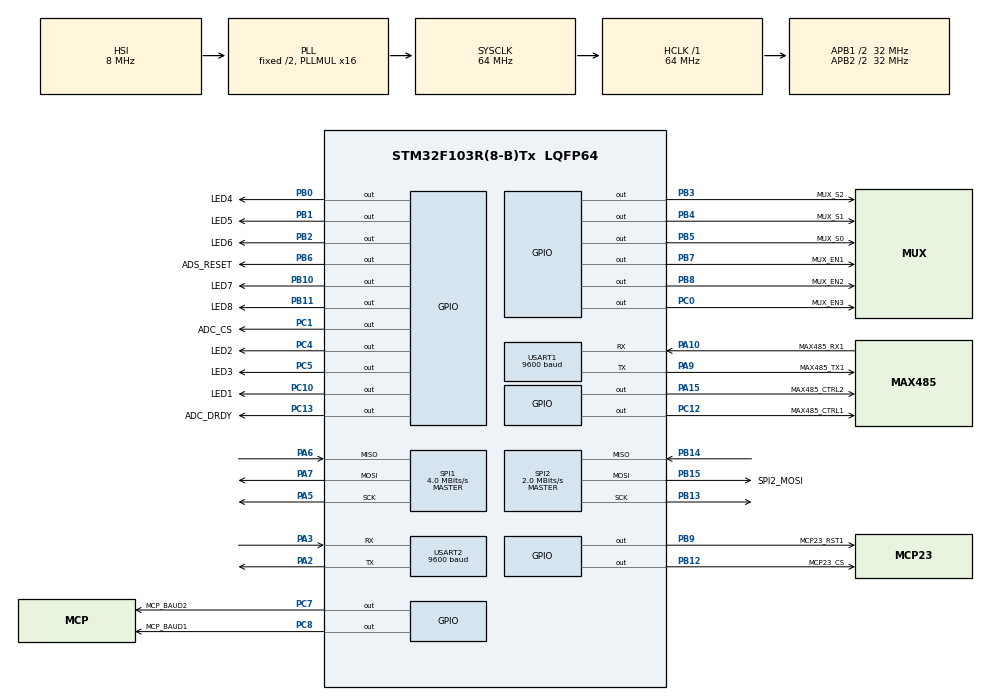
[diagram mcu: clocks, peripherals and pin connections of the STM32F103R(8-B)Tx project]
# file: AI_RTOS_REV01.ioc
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Dma.Request0=USART1_RX
Dma.Request1=USART1_TX
Dma.Request2=USART2_TX
Dma.Request3=USART2_RX
Dma.USART1_RX.0.Direction=DMA_PERIPH_TO_MEMORY
Dma.USART1_RX.0.Instance=DMA1_Channel5
Dma.USART1_RX.0.MemDataAlignment=DMA_MDATAALIGN_BYTE
Dma.USART1_RX.0.MemInc=DMA_MINC_ENABLE
Dma.USART1_RX.0.Mode=DMA_NORMAL
Dma.USART1_RX.0.PeriphDataAlignment=DMA_PDATAALIGN_BYTE
Dma.USART1_RX.0.PeriphInc=DMA_PINC_DISABLE
Dma.USART1_RX.0.Priority=DMA_PRIORITY_LOW
Dma.USART1_TX.1.Direction=DMA_MEMORY_TO_PERIPH
Dma.USART1_TX.1.Instance=DMA1_Channel4
Dma.USART1_TX.1.MemDataAlignment=DMA_MDATAALIGN_BYTE
Dma.USART1_TX.1.MemInc=DMA_MINC_ENABLE
Dma.USART1_TX.1.Mode=DMA_NORMAL
Dma.USART1_TX.1.PeriphDataAlignment=DMA_PDATAALIGN_BYTE
Dma.USART1_TX.1.PeriphInc=DMA_PINC_DISABLE
Dma.USART1_TX.1.Priority=DMA_PRIORITY_LOW
Dma.USART2_RX.3.Direction=DMA_PERIPH_TO_MEMORY
Dma.USART2_RX.3.Instance=DMA1_Channel6
Dma.USART2_RX.3.MemDataAlignment=DMA_MDATAALIGN_BYTE
Dma.USART2_RX.3.MemInc=DMA_MINC_ENABLE
Dma.USART2_RX.3.Mode=DMA_NORMAL
Dma.USART2_RX.3.PeriphDataAlignment=DMA_PDATAALIGN_BYTE
Dma.USART2_RX.3.PeriphInc=DMA_PINC_DISABLE
Dma.USART2_RX.3.Priority=DMA_PRIORITY_LOW
Dma.USART2_TX.2.Direction=DMA_MEMORY_TO_PERIPH
Dma.USART2_TX.2.Instance=DMA1_Channel7
Dma.USART2_TX.2.MemDataAlignment=DMA_MDATAALIGN_BYTE
Dma.USART2_TX.2.MemInc=DMA_MINC_ENABLE
Dma.USART2_TX.2.Mode=DMA_NORMAL
Dma.USART2_TX.2.PeriphDataAlignment=DMA_PDATAALIGN_BYTE
Dma.USART2_TX.2.PeriphInc=DMA_PINC_DISABLE
Dma.USART2_TX.2.Priority=DMA_PRIORITY_LOW
FREERTOS.Tasks01=defaultTask,0,128,StartDefaultTask,Default,NULL,Dynamic,NULL,NULL;MODBUS_TASK,-3,128,MODBUS_HANDLER,Default,NULL,Dynamic,NULL,NULL
Mcu.Family=STM32F1
Mcu.Name=STM32F103R(8-B)Tx
Mcu.Package=LQFP64
NVIC.DMA1_Channel4_IRQn=true\:5\:0\:false\:false\:true\:true\:false\:true\:true
NVIC.DMA1_Channel5_IRQn=true\:5\:0\:false\:false\:true\:true\:false\:true\:true
NVIC.DMA1_Channel6_IRQn=true\:5\:0\:false\:false\:true\:true\:false\:true\:true
NVIC.DMA1_Channel7_IRQn=true\:5\:0\:false\:false\:true\:true\:false\:true\:true
NVIC.PriorityGroup=NVIC_PRIORITYGROUP_4
NVIC.TIM1_UP_IRQn=true\:15\:0\:false\:false\:true\:false\:false\:true\:true
NVIC.TimeBase=TIM1_UP_IRQn
NVIC.TimeBaseIP=TIM1
NVIC.USART1_IRQn=true\:5\:0\:false\:false\:true\:true\:true\:true\:true
NVIC.USART2_IRQn=true\:5\:0\:false\:false\:true\:true\:true\:true\:true
PA10.GPIO_Label=MAX485_RX1
PA10.Mode=Asynchronous
PA10.Signal=USART1_RX
PA13.Mode=Serial_Wire
PA13.Signal=SYS_JTMS-SWDIO
PA14.Mode=Serial_Wire
PA14.Signal=SYS_JTCK-SWCLK
PA15.GPIO_Label=MAX485_CTRL2
PA15.Signal=GPIO_Output
PA2.Mode=Asynchronous
PA2.Signal=USART2_TX
PA3.Mode=Asynchronous
PA3.Signal=USART2_RX
PA5.Mode=Full_Duplex_Master
PA5.Signal=SPI1_SCK
PA6.Mode=Full_Duplex_Master
PA6.Signal=SPI1_MISO
PA7.Mode=Full_Duplex_Master
PA7.Signal=SPI1_MOSI
PA9.GPIO_Label=MAX485_TX1
PA9.Mode=Asynchronous
PA9.Signal=USART1_TX
PB0.GPIO_Label=LED4
PB0.Signal=GPIO_Output
PB1.GPIO_Label=LED5
PB1.Signal=GPIO_Output
PB10.GPIO_Label=LED7
PB10.Signal=GPIO_Output
PB11.GPIO_Label=LED8
PB11.Signal=GPIO_Output
PB12.GPIO_Label=MCP23_CS
PB12.Signal=GPIO_Output
PB13.Mode=Full_Duplex_Master
PB13.Signal=SPI2_SCK
PB14.Mode=Full_Duplex_Master
PB14.Signal=SPI2_MISO
PB15.GPIO_Label=SPI2_MOSI
PB15.Mode=Full_Duplex_Master
PB15.Signal=SPI2_MOSI
PB2.GPIO_Label=LED6
PB2.Signal=GPIO_Output
PB3.GPIO_Label=MUX_S2
PB3.Signal=GPIO_Output
PB4.GPIO_Label=MUX_S1
PB4.Signal=GPIO_Output
PB5.GPIO_Label=MUX_S0
PB5.Signal=GPIO_Output
PB6.GPIO_Label=ADS_RESET
PB6.Signal=GPIO_Output
PB7.GPIO_Label=MUX_EN1
PB7.Signal=GPIO_Output
PB8.GPIO_Label=MUX_EN2
PB8.Signal=GPIO_Output
PB9.GPIO_Label=MCP23_RST1
PB9.Signal=GPIO_Output
PC0.GPIO_Label=MUX_EN3
PC0.Signal=GPIO_Output
PC1.GPIO_Label=ADC_CS
PC1.Signal=GPIO_Output
PC10.GPIO_Label=LED1
PC10.Signal=GPIO_Output
PC12.GPIO_Label=MAX485_CTRL1
PC12.Signal=GPIO_Output
PC13-TAMPER-RTC.GPIO_Label=ADC_DRDY
PC13-TAMPER-RTC.Signal=GPIO_Output
PC4.GPIO_Label=LED2
PC4.Signal=GPIO_Output
PC5.GPIO_Label=LED3
PC5.Signal=GPIO_Output
PC7.GPIO_Label=MCP_BAUD2
PC7.Signal=GPIO_Output
PC8.GPIO_Label=MCP_BAUD1
PC8.Signal=GPIO_Output
PD0-OSC_IN.Mode=HSE-External-Oscillator
PD0-OSC_IN.Signal=RCC_OSC_IN
PD1-OSC_OUT.Mode=HSE-External-Oscillator
PD1-OSC_OUT.Signal=RCC_OSC_OUT
ProjectManager.HeapSize=0x200
ProjectManager.StackSize=0x400
ProjectManager.TargetToolchain=STM32CubeIDE
RCC.AHBFreq_Value=64000000
RCC.APB1CLKDivider=RCC_HCLK_DIV2
RCC.APB1Freq_Value=32000000
RCC.APB1TimFreq_Value=64000000
RCC.APB2CLKDivider=RCC_HCLK_DIV2
RCC.APB2Freq_Value=32000000
RCC.APB2TimFreq_Value=64000000
RCC.DATA_CACHE_ENABLE=0
RCC.HCLKFreq_Value=64000000
RCC.INSTRUCTION_CACHE_ENABLE=0
RCC.PLLMUL=RCC_PLL_MUL16
RCC.SYSCLKFreq_VALUE=64000000
RCC.SYSCLKSource=RCC_SYSCLKSOURCE_PLLCLK
RCC.USBFreq_Value=64000000
SPI1.BaudRatePrescaler=SPI_BAUDRATEPRESCALER_8
SPI1.CLKPhase=SPI_PHASE_2EDGE
SPI1.CalculateBaudRate=4.0 MBits/s
SPI1.Direction=SPI_DIRECTION_2LINES
SPI1.Mode=SPI_MODE_MASTER
SPI1.VirtualType=VM_MASTER
SPI2.BaudRatePrescaler=SPI_BAUDRATEPRESCALER_16
SPI2.CalculateBaudRate=2.0 MBits/s
SPI2.Direction=SPI_DIRECTION_2LINES
SPI2.Mode=SPI_MODE_MASTER
SPI2.VirtualType=VM_MASTER
USART1.BaudRate=9600
USART1.VirtualMode=VM_ASYNC
USART2.BaudRate=9600
USART2.VirtualMode=VM_ASYNC
VP_FREERTOS_VS_CMSIS_V1.Mode=CMSIS_V1
VP_SYS_VS_tim1.Mode=TIM1
board=custom

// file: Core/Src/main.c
/* USER CODE BEGIN Header */
/**
  ******************************************************************************
  * @file           : main.c
  * @brief          : Main program body
  ******************************************************************************
  * @attention
  *
  * Copyright (c) 2026 STMicroelectronics.
  * All rights reserved.
  *
  * This software is licensed under terms that can be found in the LICENSE file
  * in the root directory of this software component.
  * If no LICENSE file comes with this software, it is provided AS-IS.
  *
  ******************************************************************************
  */
/* USER CODE END Header */
#include "main.h"
#include "cmsis_os.h"

/* USER CODE BEGIN Includes */
#include"string.h"
#include <stdbool.h>
#include<HC595.h>
#include<storage.h>
#include<modbus485.h>
#include"ADS1247.h"
#include"dipswitch.h"
#include<math.h>

/* USER CODE END Includes */

/* USER CODE BEGIN PTD */

//int cnt=0;
uint8_t slave_id=0x01;
int cnt=0;
int16_t adc_conversion_mode[8]={0x0004,0x0004,0x0004,0x0004,0x0004,0x0004,0x0004,0x0004};//V0_10
uint8_t tempuart1[64];
uint8_t tempuart2[64];
int32_t raw1,raw2,raw3;
uint8_t status;
float voltageReading0,voltageReading2,result_temp=0.0;
uint8_t data[UART_RX_BUF_SIZE];
uint32_t indx=0;
uint16_t uart1crc;
uint16_t uart2crc;
uint8_t uart1_frame_ready=0;
uint8_t uart3_frame_ready=0;
uint8_t is_tx_cmpleate=0;
eMode_t conversion_mode,conversion_mode1=0;
int channal=0x00;
float supply[8];
int16_t modebus_regs_range[10]={0};
uint8_t RxData1[64];
uint8_t RxData[64];
volatile uint16_t uart1_rx_size = 0;
volatile uint16_t uart3_rx_size = 0;
volatile uint16_t uart1len =0;
volatile uint16_t uart2len =0;
const MapEntry configMap[] = {
	{0,MV0_50},
    {1, MV0_100},
	{2, MV0_250},
    {3, V0_5},
    {4, V0_10},
    {5,MA4_20},
	{6,MA0_20},
	{7,VN10_10},
	{8,VN5_5},
};
//Reg=((v/100)*22000)-2000
float voltage_x[50];

#define ICNT 1

flash_t W_flash={.channalmode={4,4,4,4,4,4,4,4},
		.MB_Zero_offset={-2000,-2000,-2000,-2000,-2000,-2000,-2000,-2000},
		.MB_Span_offset={20000,20000,20000,20000,20000,20000,20000,20000},
		.BaudRate=9600,
		.SlaveID=0x01,
};

flash_t R_flash={.channalmode={4,4,4,4,4,4,4,4},
		.MB_Zero_offset={-2000,-2000,-2000,-2000,-2000,-2000,-2000,-2000},
		.MB_Span_offset={20000,20000,20000,20000,20000,20000,20000,20000},
		.BaudRate=9600,
		.SlaveID=0x01,
};

int32_t Input_Registers_Database[50]={0};
int16_t Holding_Registers_Database[50]={0};
RingBuffer_t uart2_rx_rb = { .head = 0, .tail = 0 };
RingBuffer_t uart1_rx_rb = { .head = 0, .tail = 0 };

uint32_t selectedBaudRate;

osSemaphoreId txCompleteSem;
volatile uint32_t last_rx_time = 0;

uint8_t uart1_buf[64];
uint8_t uart3_buf[64];
/* USER CODE END PTD */

SPI_HandleTypeDef hspi1;
SPI_HandleTypeDef hspi2;

UART_HandleTypeDef huart1;
UART_HandleTypeDef huart2;
DMA_HandleTypeDef hdma_usart1_rx;
DMA_HandleTypeDef hdma_usart1_tx;
DMA_HandleTypeDef hdma_usart2_tx;
DMA_HandleTypeDef hdma_usart2_rx;

osThreadId defaultTaskHandle;
osThreadId MODBUS_TASKHandle;

void SystemClock_Config(void);
static void MX_GPIO_Init(void);
static void MX_DMA_Init(void);
static void MX_USART1_UART_Init(void);
static void MX_USART2_UART_Init(void);
static void MX_SPI1_Init(void);
static void MX_SPI2_Init(void);
void StartDefaultTask(void const * argument);
void MODBUS_HANDLER(void const * argument);

/* USER CODE BEGIN 0 */
void UART_DMA_Init(void)
{
	HAL_UART_DMAStop(&huart1);
    HAL_UARTEx_ReceiveToIdle_DMA(&huart1, RxData1, sizeof(RxData1));
    __HAL_DMA_DISABLE_IT(&hdma_usart1_rx, DMA_IT_HT);

    HAL_UART_DMAStop(&huart2);
    HAL_UARTEx_ReceiveToIdle_DMA(&huart2, RxData, sizeof(RxData));
    __HAL_DMA_DISABLE_IT(&hdma_usart2_rx, DMA_IT_HT);
}

void UART_SetBaudRate(UART_HandleTypeDef *huart, uint32_t baudRate)
{
	HAL_UART_DeInit(huart);
	huart->Init.BaudRate = baudRate;
	if (HAL_UART_Init(huart) != HAL_OK)
	{
		Error_Handler();
	}
}

void UpdateUartBaudRate(void)
{
	static uint32_t previousBaud = 0;

	uint8_t gpioVal = (HAL_GPIO_ReadPin(GPIOC, GPIO_PIN_8) << 1) |
							HAL_GPIO_ReadPin(GPIOC, GPIO_PIN_7);

	switch (gpioVal)
	{
		case 0x00: selectedBaudRate = 9600; break;
		case 0x01: selectedBaudRate = 19200; break;
		case 0x02: selectedBaudRate = 38400; break;
		default: selectedBaudRate = 115200; break;
	}

	// 🔥 Only change if baud is different
	if (selectedBaudRate != previousBaud)
	{
		previousBaud = selectedBaudRate;

		// Stop UART first
		HAL_UART_DMAStop(&huart2);
		HAL_UART_DMAStop(&huart1);

		UART_SetBaudRate(&huart2, selectedBaudRate);
		UART_SetBaudRate(&huart1, selectedBaudRate);

		HAL_UARTEx_ReceiveToIdle_DMA(&huart2, RxData, sizeof(RxData));
		__HAL_DMA_DISABLE_IT(&hdma_usart2_rx, DMA_IT_HT);

		HAL_UARTEx_ReceiveToIdle_DMA(&huart1, RxData1, sizeof(RxData1));
		__HAL_DMA_DISABLE_IT(&hdma_usart1_rx, DMA_IT_HT);
	}
}
void HAL_UARTEx_RxEventCallback(UART_HandleTypeDef *huart, uint16_t Size)
{
    if (huart->Instance == USART1)
    {
        if (Size >= 6 && Size <= sizeof(RxData1))
        {
            if (RxData1[0] == slave_id && !uart1_frame_ready)
            {
                memcpy(uart1_buf, RxData1, Size);

                uart1_rx_size = Size;

                uart1_frame_ready = 1;

//                uart1_recovering = 0;
            }
        }
       // memset(RxData1,0,sizeof(RxData1));
        HAL_UARTEx_ReceiveToIdle_DMA(&huart1, RxData1, sizeof(RxData1));
        __HAL_DMA_DISABLE_IT(&hdma_usart1_rx, DMA_IT_HT);
    }

    else if (huart->Instance == USART2)
    {
        if (Size >= 6 && Size <= sizeof(RxData))
        {
            if (RxData[0] == slave_id && !uart3_frame_ready)
            {
                memcpy(uart3_buf, RxData, Size);

                uart3_rx_size = Size;
//                uart3_last_rx_time = HAL_GetTick();
//                uart3_process_start = uart3_last_rx_time;

                uart3_frame_ready = 1;

//                uart3_recovering = 0;
            }
        }
        memset(RxData,0,sizeof(RxData));
        HAL_UARTEx_ReceiveToIdle_DMA(&huart2, RxData, sizeof(RxData));
        __HAL_DMA_DISABLE_IT(&hdma_usart2_rx, DMA_IT_HT);
    }
}
void UART1_Recover(void)
{

	uint8_t error = 0;
    // Check all errors first
    if (__HAL_UART_GET_FLAG(&huart1, UART_FLAG_ORE)) error = 1;
    if (__HAL_UART_GET_FLAG(&huart1, UART_FLAG_FE))  error = 1;
    if (__HAL_UART_GET_FLAG(&huart1, UART_FLAG_NE))  error = 1;
    if (__HAL_UART_GET_FLAG(&huart1, UART_FLAG_PE))  error = 1;

    if (error)
    {
    	//cnt2++;
        // 1. Stop DMA
        HAL_UART_DMAStop(&huart1);

        // 2. Clear all error flags
        __HAL_UART_CLEAR_OREFLAG(&huart1);
        __HAL_UART_CLEAR_FEFLAG(&huart1);
        __HAL_UART_CLEAR_NEFLAG(&huart1);
        __HAL_UART_CLEAR_PEFLAG(&huart1);

        // 3. Flush DR (VERY IMPORTANT)
        volatile uint32_t temp;
        temp = huart1.Instance->SR;
        temp = huart1.Instance->DR;
        (void)temp;

        // 4. Restart DMA reception
        HAL_UARTEx_ReceiveToIdle_DMA(&huart1, RxData1, sizeof(RxData1));

//         5. Disable Half Transfer interrupt (good for Modbus)
        __HAL_DMA_DISABLE_IT(&hdma_usart1_rx, DMA_IT_HT);
    }
}
void UART3_Recover(void)
{
    uint8_t error = 0;

    // Check all errors first
    if (__HAL_UART_GET_FLAG(&huart2, UART_FLAG_ORE)) error = 1;
    if (__HAL_UART_GET_FLAG(&huart2, UART_FLAG_FE))  error = 1;
    if (__HAL_UART_GET_FLAG(&huart2, UART_FLAG_NE))  error = 1;
    if (__HAL_UART_GET_FLAG(&huart2, UART_FLAG_PE))  error = 1;

    if (error)
    {
        // 1. Stop DMA
        HAL_UART_DMAStop(&huart2);

        // 2. Clear all error flags
        __HAL_UART_CLEAR_OREFLAG(&huart2);
        __HAL_UART_CLEAR_FEFLAG(&huart2);
        __HAL_UART_CLEAR_NEFLAG(&huart2);
        __HAL_UART_CLEAR_PEFLAG(&huart2);

        // 3. Flush DR (VERY IMPORTANT)
        volatile uint32_t temp;
        temp = huart2.Instance->SR;
        temp = huart2.Instance->DR;
        (void)temp;

        // 4. Restart DMA reception
        HAL_UARTEx_ReceiveToIdle_DMA(&huart2, RxData, sizeof(RxData));

        // 5. Disable Half Transfer interrupt (good for Modbus)
        __HAL_DMA_DISABLE_IT(&hdma_usart2_rx, DMA_IT_HT);
    }
}

eMode_t check_and_get_adc_conversion_mode(uint16_t *conversion_mode,channal_t channal){

	for(int i=0;i<sizeof(configMap)/sizeof(MapEntry);i++){
				if(configMap[i].regValue==conversion_mode[channal])
					return configMap[i].config;// set channal on the basis of conversion_mode value

		}
		return configMap[channal].config;//default setting if conversion_mode is mismatch with regValue
}

uint8_t GAIN=1;
uint8_t set_adc_conversion_mode(uint16_t conversion_mode,uint8_t channel){
	static uint16_t enbit=0;
//	channel=channel+1;
		for(int i=0;i<sizeof(configMap)/sizeof(MapEntry);i++){
					if(configMap[i].regValue==conversion_mode){
						switch(configMap[i].config){
							case V0_5:
								 //enable mux1

								if(!(enbit&0x01)){
									HAL_GPIO_WritePin(MUX_EN2_GPIO_Port, MUX_EN2_Pin, RESET);
									HAL_GPIO_WritePin(MUX_EN1_GPIO_Port, MUX_EN1_Pin, SET);
									enbit |=1<<0;//enable divider mux
									enbit &=~(1<<1);//disable other mux
									GAIN=1;
									ADS1247_write_register(REG_SYS0,1,PGA2_0 | DOR3_20);
									ADS1247_write_register(REG_MUX0,1,((P_AIN1>>1)|N_AIN3));//enable AI1

								}
								ENABLE_CHANNEL(channel);

								//enable specific channel

								break;
							case V0_10 :
								 //enable mux1

								if(!(enbit&0x01)){
									HAL_GPIO_WritePin(MUX_EN2_GPIO_Port, MUX_EN2_Pin, RESET);
									HAL_GPIO_WritePin(MUX_EN1_GPIO_Port, MUX_EN1_Pin, SET);
									enbit |=1<<0;//enable divider mux
									enbit &=~(1<<1);//disable other mux
									GAIN=1;
									ADS1247_write_register(REG_SYS0,1,PGA2_0 | DOR3_20);
									ADS1247_write_register(REG_MUX0,1,((P_AIN1>>1)|N_AIN3));//enable AI1

								}
								ENABLE_CHANNEL(channel);

								//enable specific channel
								break;

							case MV0_50:
								 //enable mux2

								if(!(enbit&0x02)){
									HAL_GPIO_WritePin(MUX_EN2_GPIO_Port, MUX_EN2_Pin, SET);
									HAL_GPIO_WritePin(MUX_EN1_GPIO_Port, MUX_EN1_Pin, RESET);
									enbit |=1<<1;//enable other mux
									enbit &=~(1<<0);//disable divider  mux
									GAIN=8;
									ADS1247_write_register(REG_SYS0,1,PGA2_8 | DOR3_20);
									ADS1247_write_register(REG_MUX0,1,((P_AIN0>>1)|N_AIN3));//enable AI1

								}
								ENABLE_CHANNEL(channel);
								//enable specific channal
								break;
							case MV0_100:
								 //enable mux2

								if(!(enbit&0x02)){
									HAL_GPIO_WritePin(MUX_EN2_GPIO_Port, MUX_EN2_Pin, SET);
									HAL_GPIO_WritePin(MUX_EN1_GPIO_Port, MUX_EN1_Pin, RESET);
									enbit &=~(1<<0);//disable divider  mux
									enbit |=1<<1;//enable other mux
									GAIN=8;
									ADS1247_write_register(REG_SYS0,1,PGA2_8 | DOR3_20);
									ADS1247_write_register(REG_MUX0,1,((P_AIN0>>1)|N_AIN3));//enable AI1

								}
								ENABLE_CHANNEL(channel);
								//enable specific channal
								break;
							case MV0_250 :
								 //enable mux2

								if(!(enbit&0x02)){
									HAL_GPIO_WritePin(MUX_EN2_GPIO_Port, MUX_EN2_Pin, SET);
									HAL_GPIO_WritePin(MUX_EN1_GPIO_Port, MUX_EN1_Pin, RESET);
									enbit |=1<<1;//enable other mux
									enbit &=~(1<<0);//disable divider  mux
									GAIN=8;
									ADS1247_write_register(REG_SYS0,1,PGA2_8 | DOR3_20);
									ADS1247_write_register(REG_MUX0,1,((P_AIN0>>1)|N_AIN3));//enable AI1

								}
								ENABLE_CHANNEL(channel);
								//enable specific channal
								break;
							case MA0_20:
								 //enable mux1

								if(!(enbit&0x02)){
									HAL_GPIO_WritePin(MUX_EN2_GPIO_Port, MUX_EN2_Pin, SET);
									HAL_GPIO_WritePin(MUX_EN1_GPIO_Port, MUX_EN1_Pin, RESET);
									enbit |=1<<1;//enable other mux
									enbit &=~(1<<0);//disable divider  mux
									GAIN=1;
									ADS1247_write_register(REG_SYS0,1,PGA2_0 | DOR3_20);
									ADS1247_write_register(REG_MUX0,1,((P_AIN0>>1)|N_AIN3));//enable AI1
									//ADS1247_write_register(REG_VBIAS,1,EN_BIAS_AIN0);
								}
								ENABLE_CHANNEL(channel);

								break;
							case MA4_20 :
								 //enable mux1

								if(!(enbit&0x02)){
									HAL_GPIO_WritePin(MUX_EN2_GPIO_Port, MUX_EN2_Pin, SET);
									HAL_GPIO_WritePin(MUX_EN1_GPIO_Port, MUX_EN1_Pin, RESET);
									enbit |=1<<1;//enable other mux
									enbit &=~(1<<0);//disable divider  mux
									GAIN=1;
									ADS1247_write_register(REG_SYS0,1,PGA2_0 | DOR3_20);
									ADS1247_write_register(REG_MUX0,1,((P_AIN0>>1)|N_AIN3));//enable AI1

								}
								ENABLE_CHANNEL(channel);

								break;

							case VN5_5 :
								if(!(enbit&0x01)){
									HAL_GPIO_WritePin(MUX_EN2_GPIO_Port, MUX_EN2_Pin, RESET);
									HAL_GPIO_WritePin(MUX_EN1_GPIO_Port, MUX_EN1_Pin, SET);
									enbit |=1<<0;//enable divider mux
									enbit &=~(1<<1);//disable other mux
									ADS1247_write_register(REG_SYS0,1,PGA2_0 | DOR3_20);
									ADS1247_write_register(REG_MUX0,1,((P_AIN1>>1)|N_AIN3));//enable AI1

								}
								ENABLE_CHANNEL(channel);
								break;

							case VN10_10 :
								if(!(enbit&0x02)){
									HAL_GPIO_WritePin(MUX_EN2_GPIO_Port, MUX_EN2_Pin, SET);
									HAL_GPIO_WritePin(MUX_EN1_GPIO_Port, MUX_EN1_Pin, RESET);
									enbit |=1<<1;//enable other mux
									enbit &=~(1<<0);//disable divider  mux
									GAIN=1;
									ADS1247_write_register(REG_SYS0,1,PGA2_0 | DOR3_20);
									ADS1247_write_register(REG_MUX0,1,((P_AIN1>>1)|N_AIN3));//enable AI1

								}
								ENABLE_CHANNEL(channel);
								break;
						}

					}

			}
	return NLMB_OK;
}

//bool get_adc_conversion_value(uint8_t *adc_conversion_mode,UART_HandleTypeDef *uartx){
//	bool status;
//
//
//	if(uartx->Instance==USART1){
//		uart1len=0;
//		uart1rxcount= RingBuffer_GetCount(&uart1_rx_rb);
//		if(uart1rxcount == 0)
//			return false;  // no data yet
//		if(uart1rxcount > UART_RX_BUF_SIZE )
//			uart1rxcount = UART_RX_BUF_SIZE; // prevent overflow
//
//		 while((uart1rxcount=RingBuffer_GetCount(&uart1_rx_rb))){
//			 RingBuffer_Read(&uart1_rx_rb, &uart1RxData[uart1len++]);
//			 HAL_Delay(1);
//		 }
//	}
//	else if(uartx->Instance==USART2){
//		uart2len=0;
//
//		uart2rxcount= RingBuffer_GetCount(&uart2_rx_rb);
//		if(uart2rxcount==0)
//			return false;  // no data yet
//
//		if(uart2rxcount > UART_RX_BUF_SIZE )
//			uart2rxcount = UART_RX_BUF_SIZE; // prevent overflow
//
//		while((uart2rxcount=RingBuffer_GetCount(&uart2_rx_rb))){
//			 RingBuffer_Read(&uart2_rx_rb, &uart2RxData[uart2len++]);
//			 HAL_Delay(1);
//		 }
//	}
//	read_single_reg(uartx)?(status =true ):(status =false);
//	//read_multi_reg()?(status= true) :(status= false);
//
//    return status;
//}
//void HAL_TIM_PeriodElapsedCallback(TIM_HandleTypeDef *htim) {
//    if (htim->Instance == TIM2) {
//        HAL_TIM_Base_Stop_IT(&htim2); // Stop timer until next packet
//
//        // Calculate actual bytes received via DMA
//        uint16_t len = RX_BUFFER_SIZE - __HAL_DMA_GET_COUNTER(huart1.hdmarx);
//
//        if (len >= 8) { // Minimum Modbus RTU frame size
//   		 memcpy(tempuart1,uart1RxData,len);
//
//        }
//
//        // Prepare for next packet: reset DMA if not in Circular mode
//  		 HAL_UART_DMAStop(&huart1);
//  		 HAL_UARTEx_ReceiveToIdle_DMA(&huart1, uart1RxData, sizeof(uart1RxData));
//  		__HAL_DMA_DISABLE_IT(&hdma_usart1_rx, DMA_IT_HT);
//    }
//}
/* USER CODE END 0 */

int main(void)
{

  /* MCU Configuration--------------------------------------------------------*/

  /* Reset of all peripherals, Initializes the Flash interface and the Systick. */

	HAL_Init();

  /* Configure the system clock */
  SystemClock_Config();

  /* Initialize all configured peripherals */
  MX_GPIO_Init();
  MX_DMA_Init();
  MX_USART1_UART_Init();
  MX_USART2_UART_Init();
  MX_SPI1_Init();
  MX_SPI2_Init();
  /* USER CODE BEGIN 2 */
  RST_HIGH_B();
  csHIGH_B();
  enable_MCPA_B();
  port_configA_B();
  latch_configA_B();
  enable_MCPB_B();
  port_configB_B();
  polarity_configB_B();
  latch_configB_B();
  CS_HIGH;//asd1247 cs

  ADS1247_begin();
  UART_DMA_Init();

  /* USER CODE END 2 */

  /* Create the thread(s) */
  /* definition and creation of defaultTask */
  osThreadDef(defaultTask, StartDefaultTask, osPriorityNormal, 0, 128);
  defaultTaskHandle = osThreadCreate(osThread(defaultTask), NULL);

  /* definition and creation of MODBUS_TASK */
  osThreadDef(MODBUS_TASK, MODBUS_HANDLER, osPriorityHigh, 0, 128);
  MODBUS_TASKHandle = osThreadCreate(osThread(MODBUS_TASK), NULL);

  /* Start scheduler */
  osKernelStart();

  /* We should never get here as control is now taken by the scheduler */

  /* Infinite loop */
  while (1)
  {

  }
}

void SystemClock_Config(void)
{
  RCC_OscInitTypeDef RCC_OscInitStruct = {0};
  RCC_ClkInitTypeDef RCC_ClkInitStruct = {0};

  /** Initializes the RCC Oscillators according to the specified parameters
  * in the RCC_OscInitTypeDef structure.
  */
  RCC_OscInitStruct.OscillatorType = RCC_OSCILLATORTYPE_HSI;
  RCC_OscInitStruct.HSIState = RCC_HSI_ON;
  RCC_OscInitStruct.HSICalibrationValue = RCC_HSICALIBRATION_DEFAULT;
  RCC_OscInitStruct.PLL.PLLState = RCC_PLL_ON;
  RCC_OscInitStruct.PLL.PLLSource = RCC_PLLSOURCE_HSI_DIV2;
  RCC_OscInitStruct.PLL.PLLMUL = RCC_PLL_MUL16;
  if (HAL_RCC_OscConfig(&RCC_OscInitStruct) != HAL_OK)
  {
    Error_Handler();
  }

  /** Initializes the CPU, AHB and APB buses clocks
  */
  RCC_ClkInitStruct.ClockType = RCC_CLOCKTYPE_HCLK|RCC_CLOCKTYPE_SYSCLK
                              |RCC_CLOCKTYPE_PCLK1|RCC_CLOCKTYPE_PCLK2;
  RCC_ClkInitStruct.SYSCLKSource = RCC_SYSCLKSOURCE_PLLCLK;
  RCC_ClkInitStruct.AHBCLKDivider = RCC_SYSCLK_DIV1;
  RCC_ClkInitStruct.APB1CLKDivider = RCC_HCLK_DIV2;
  RCC_ClkInitStruct.APB2CLKDivider = RCC_HCLK_DIV2;

  if (HAL_RCC_ClockConfig(&RCC_ClkInitStruct, FLASH_LATENCY_2) != HAL_OK)
  {
    Error_Handler();
  }
}

static void MX_SPI1_Init(void)
{

  /* SPI1 parameter configuration*/
  hspi1.Instance = SPI1;
  hspi1.Init.Mode = SPI_MODE_MASTER;
  hspi1.Init.Direction = SPI_DIRECTION_2LINES;
  hspi1.Init.DataSize = SPI_DATASIZE_8BIT;
  hspi1.Init.CLKPolarity = SPI_POLARITY_LOW;
  hspi1.Init.CLKPhase = SPI_PHASE_2EDGE;
  hspi1.Init.NSS = SPI_NSS_SOFT;
  hspi1.Init.BaudRatePrescaler = SPI_BAUDRATEPRESCALER_8;
  hspi1.Init.FirstBit = SPI_FIRSTBIT_MSB;
  hspi1.Init.TIMode = SPI_TIMODE_DISABLE;
  hspi1.Init.CRCCalculation = SPI_CRCCALCULATION_DISABLE;
  hspi1.Init.CRCPolynomial = 10;
  if (HAL_SPI_Init(&hspi1) != HAL_OK)
  {
    Error_Handler();
  }

}

static void MX_SPI2_Init(void)
{

  /* SPI2 parameter configuration*/
  hspi2.Instance = SPI2;
  hspi2.Init.Mode = SPI_MODE_MASTER;
  hspi2.Init.Direction = SPI_DIRECTION_2LINES;
  hspi2.Init.DataSize = SPI_DATASIZE_8BIT;
  hspi2.Init.CLKPolarity = SPI_POLARITY_LOW;
  hspi2.Init.CLKPhase = SPI_PHASE_1EDGE;
  hspi2.Init.NSS = SPI_NSS_SOFT;
  hspi2.Init.BaudRatePrescaler = SPI_BAUDRATEPRESCALER_16;
  hspi2.Init.FirstBit = SPI_FIRSTBIT_MSB;
  hspi2.Init.TIMode = SPI_TIMODE_DISABLE;
  hspi2.Init.CRCCalculation = SPI_CRCCALCULATION_DISABLE;
  hspi2.Init.CRCPolynomial = 10;
  if (HAL_SPI_Init(&hspi2) != HAL_OK)
  {
    Error_Handler();
  }

}

static void MX_USART1_UART_Init(void)
{

  huart1.Instance = USART1;
  huart1.Init.BaudRate = 9600;
  huart1.Init.WordLength = UART_WORDLENGTH_8B;
  huart1.Init.StopBits = UART_STOPBITS_1;
  huart1.Init.Parity = UART_PARITY_NONE;
  huart1.Init.Mode = UART_MODE_TX_RX;
  huart1.Init.HwFlowCtl = UART_HWCONTROL_NONE;
  huart1.Init.OverSampling = UART_OVERSAMPLING_16;
  if (HAL_UART_Init(&huart1) != HAL_OK)
  {
    Error_Handler();
  }

}

static void MX_USART2_UART_Init(void)
{

  huart2.Instance = USART2;
  huart2.Init.BaudRate = 9600;
  huart2.Init.WordLength = UART_WORDLENGTH_8B;
  huart2.Init.StopBits = UART_STOPBITS_1;
  huart2.Init.Parity = UART_PARITY_NONE;
  huart2.Init.Mode = UART_MODE_TX_RX;
  huart2.Init.HwFlowCtl = UART_HWCONTROL_NONE;
  huart2.Init.OverSampling = UART_OVERSAMPLING_16;
  if (HAL_UART_Init(&huart2) != HAL_OK)
  {
    Error_Handler();
  }

}

static void MX_DMA_Init(void)
{

  /* DMA controller clock enable */
  __HAL_RCC_DMA1_CLK_ENABLE();

  /* DMA interrupt init */
  /* DMA1_Channel4_IRQn interrupt configuration */
  HAL_NVIC_SetPriority(DMA1_Channel4_IRQn, 5, 0);
  HAL_NVIC_EnableIRQ(DMA1_Channel4_IRQn);
  /* DMA1_Channel5_IRQn interrupt configuration */
  HAL_NVIC_SetPriority(DMA1_Channel5_IRQn, 5, 0);
  HAL_NVIC_EnableIRQ(DMA1_Channel5_IRQn);
  /* DMA1_Channel6_IRQn interrupt configuration */
  HAL_NVIC_SetPriority(DMA1_Channel6_IRQn, 5, 0);
  HAL_NVIC_EnableIRQ(DMA1_Channel6_IRQn);
  /* DMA1_Channel7_IRQn interrupt configuration */
  HAL_NVIC_SetPriority(DMA1_Channel7_IRQn, 5, 0);
  HAL_NVIC_EnableIRQ(DMA1_Channel7_IRQn);

}

static void MX_GPIO_Init(void)
{
  GPIO_InitTypeDef GPIO_InitStruct = {0};

  /* GPIO Ports Clock Enable */
  __HAL_RCC_GPIOC_CLK_ENABLE();
  __HAL_RCC_GPIOD_CLK_ENABLE();
  __HAL_RCC_GPIOA_CLK_ENABLE();
  __HAL_RCC_GPIOB_CLK_ENABLE();

  /*Configure GPIO pin Output Level */
  HAL_GPIO_WritePin(GPIOC, ADC_DRDY_Pin|MUX_EN3_Pin|ADC_CS_Pin|LED2_Pin
                          |LED3_Pin|MCP_BAUD2_Pin|MCP_BAUD1_Pin|LED1_Pin
                          |MAX485_CTRL1_Pin, GPIO_PIN_RESET);

  /*Configure GPIO pin Output Level */
  HAL_GPIO_WritePin(GPIOB, LED4_Pin|LED5_Pin|LED6_Pin|LED7_Pin
                          |LED8_Pin|MCP23_CS_Pin|MUX_S2_Pin|MUX_S1_Pin
                          |MUX_S0_Pin|ADS_RESET_Pin|MUX_EN1_Pin|MUX_EN2_Pin
                          |MCP23_RST1_Pin, GPIO_PIN_RESET);

  /*Configure GPIO pin Output Level */
  HAL_GPIO_WritePin(MAX485_CTRL2_GPIO_Port, MAX485_CTRL2_Pin, GPIO_PIN_RESET);

  /*Configure GPIO pins : ADC_DRDY_Pin MUX_EN3_Pin ADC_CS_Pin LED2_Pin
                           LED3_Pin MCP_BAUD2_Pin MCP_BAUD1_Pin LED1_Pin
                           MAX485_CTRL1_Pin */
  GPIO_InitStruct.Pin = ADC_DRDY_Pin|MUX_EN3_Pin|ADC_CS_Pin|LED2_Pin
                          |LED3_Pin|MCP_BAUD2_Pin|MCP_BAUD1_Pin|LED1_Pin
                          |MAX485_CTRL1_Pin;
  GPIO_InitStruct.Mode = GPIO_MODE_OUTPUT_PP;
  GPIO_InitStruct.Pull = GPIO_NOPULL;
  GPIO_InitStruct.Speed = GPIO_SPEED_FREQ_LOW;
  HAL_GPIO_Init(GPIOC, &GPIO_InitStruct);

  /*Configure GPIO pins : LED4_Pin LED5_Pin LED6_Pin LED7_Pin
                           LED8_Pin MCP23_CS_Pin MUX_S2_Pin MUX_S1_Pin
                           MUX_S0_Pin ADS_RESET_Pin MUX_EN1_Pin MUX_EN2_Pin
                           MCP23_RST1_Pin */
  GPIO_InitStruct.Pin = LED4_Pin|LED5_Pin|LED6_Pin|LED7_Pin
                          |LED8_Pin|MCP23_CS_Pin|MUX_S2_Pin|MUX_S1_Pin
                          |MUX_S0_Pin|ADS_RESET_Pin|MUX_EN1_Pin|MUX_EN2_Pin
                          |MCP23_RST1_Pin;
  GPIO_InitStruct.Mode = GPIO_MODE_OUTPUT_PP;
  GPIO_InitStruct.Pull = GPIO_NOPULL;
  GPIO_InitStruct.Speed = GPIO_SPEED_FREQ_LOW;
  HAL_GPIO_Init(GPIOB, &GPIO_InitStruct);

  /*Configure GPIO pin : MAX485_CTRL2_Pin */
  GPIO_InitStruct.Pin = MAX485_CTRL2_Pin;
  GPIO_InitStruct.Mode = GPIO_MODE_OUTPUT_PP;
  GPIO_InitStruct.Pull = GPIO_NOPULL;
  GPIO_InitStruct.Speed = GPIO_SPEED_FREQ_LOW;
  HAL_GPIO_Init(MAX485_CTRL2_GPIO_Port, &GPIO_InitStruct);

}

void StartDefaultTask(void const * argument)
{
  /* USER CODE BEGIN 5 */
	uint32_t sum=0;

    if(get_is_configured()==SET){
		HAL_GPIO_WritePin(LED1_GPIO_Port, LED1_Pin, SET);
		HAL_GPIO_WritePin(LED2_GPIO_Port, LED2_Pin, SET);
		HAL_GPIO_WritePin(LED3_GPIO_Port, LED3_Pin, SET);
		HAL_GPIO_WritePin(LED4_GPIO_Port, LED4_Pin, SET);
		HAL_GPIO_WritePin(LED5_GPIO_Port, LED5_Pin, SET);
		HAL_GPIO_WritePin(LED6_GPIO_Port, LED6_Pin, SET);
		HAL_GPIO_WritePin(LED7_GPIO_Port, LED7_Pin, SET);
		HAL_GPIO_WritePin(LED8_GPIO_Port, LED8_Pin, SET);

    }
  /* Infinite loop */
  for(;;)
  {

		 uint8_t len=0;
		 (void)len;
		 (void)sum;
//		 slave_id=GPIO_readA_B();
//		 W_flash.SlaveID=slave_id;

		 memcpy(W_flash.channalmode,adc_conversion_mode,16);
		 memcpy(W_flash.MB_Zero_offset,MB_Zero_offset,16);
		 memcpy(W_flash.MB_Span_offset,MB_Span_offset,16);

/*save channal configuration in flash*/
		 if((memcmp(W_flash.channalmode,R_flash.channalmode,16)!=0)||(memcmp(W_flash.MB_Span_offset,R_flash.MB_Span_offset,16)!=0)||(memcmp(W_flash.MB_Zero_offset,R_flash.MB_Zero_offset,16)!=0)/*||get_is_configured()==0*/){

			 Flash_WriteSettings(&W_flash);
//			 set_is_configured();
		 }
		 Flash_ReadSettings(&R_flash);
		 memcpy(adc_conversion_mode,R_flash.channalmode,16);
		 memcpy(MB_Zero_offset,R_flash.MB_Zero_offset,16);
		 memcpy(MB_Span_offset,R_flash.MB_Span_offset,16);

		channal=0;
		for(int i=0;i<8;i++){
			set_adc_conversion_mode(adc_conversion_mode[i],i);
			osDelay(130);
			conversion_mode1=check_and_get_adc_conversion_mode((uint16_t*)adc_conversion_mode,channal_0+i);//check channal configuration mode value and get conversion mode

				if (HAL_GPIO_ReadPin(DRDY_PORT, DRDY_PIN) == GPIO_PIN_RESET){
					for(int i=0;i<ICNT;i++){
					 raw1=ADS1247_ReadData(P_AIN0);
					}
				}
			voltageReading0=ads1247_raw_to_voltage(raw1, 4.98, GAIN);
			supply[channal_0+i]=get_supply(voltageReading0,conversion_mode1);

			voltage_x[i]=supply[channal_0+i];

			modebus_regs_range[channal_0+i]=get_modbus_regs_range(voltage_x[i],conversion_mode1,i);

//			if(conversion_mode1==MV0_100){
//				voltage_x=supply[channal_0+i];
//				modebus_regs_range[channal_0]=MODBUS_REGS(voltage_x,100.0,-2000,20000);
//			}

				 memcpy(&Input_Registers_Database[channal_0],&supply[channal_0],4);
				 memcpy(&Input_Registers_Database[channal_1],&supply[channal_1],4);
				 memcpy(&Input_Registers_Database[channal_2],&supply[channal_2],4);
				 memcpy(&Input_Registers_Database[channal_3],&supply[channal_3],4);
				 memcpy(&Input_Registers_Database[channal_4],&supply[channal_4],4);
				 memcpy(&Input_Registers_Database[channal_5],&supply[channal_5],4);
				 memcpy(&Input_Registers_Database[channal_6],&supply[channal_6],4);
				 memcpy(&Input_Registers_Database[channal_7],&supply[channal_7],4);

//				 memcpy(&Input_Registers_Database[channal_0+20],&modebus_regs_range[channal_0],4);
//				 memcpy(&Input_Registers_Database[channal_1+20],&modebus_regs_range[channal_1],4);
//				 memcpy(&Input_Registers_Database[channal_2+20],&modebus_regs_range[channal_2],4);
//				 memcpy(&Input_Registers_Database[channal_3+20],&modebus_regs_range[channal_3],4);
//				 memcpy(&Input_Registers_Database[channal_4+20],&modebus_regs_range[channal_4],4);
//				 memcpy(&Input_Registers_Database[channal_5+20],&modebus_regs_range[channal_5],4);
//				 memcpy(&Input_Registers_Database[channal_6+20],&modebus_regs_range[channal_6],4);
//				 memcpy(&Input_Registers_Database[channal_7+20],&modebus_regs_range[channal_7],4);

				 memcpy(&Holding_Registers_Database[channal_0],&adc_conversion_mode[channal_0],2);
				 memcpy(&Holding_Registers_Database[channal_1],&adc_conversion_mode[channal_1],2);
				 memcpy(&Holding_Registers_Database[channal_2],&adc_conversion_mode[channal_2],2);
				 memcpy(&Holding_Registers_Database[channal_3],&adc_conversion_mode[channal_3],2);
				 memcpy(&Holding_Registers_Database[channal_4],&adc_conversion_mode[channal_4],2);
				 memcpy(&Holding_Registers_Database[channal_5],&adc_conversion_mode[channal_5],2);
				 memcpy(&Holding_Registers_Database[channal_6],&adc_conversion_mode[channal_6],2);
				 memcpy(&Holding_Registers_Database[channal_7],&adc_conversion_mode[channal_7],2);

				 memcpy(&Holding_Registers_Database[channal_0+20],&MB_Zero_offset[channal_0],2);
				 memcpy(&Holding_Registers_Database[channal_1+20],&MB_Zero_offset[channal_1],2);
				 memcpy(&Holding_Registers_Database[channal_2+20],&MB_Zero_offset[channal_2],2);
				 memcpy(&Holding_Registers_Database[channal_3+20],&MB_Zero_offset[channal_3],2);
				 memcpy(&Holding_Registers_Database[channal_4+20],&MB_Zero_offset[channal_4],2);
				 memcpy(&Holding_Registers_Database[channal_5+20],&MB_Zero_offset[channal_5],2);
				 memcpy(&Holding_Registers_Database[channal_6+20],&MB_Zero_offset[channal_6],2);
				 memcpy(&Holding_Registers_Database[channal_7+20],&MB_Zero_offset[channal_7],2);

				 memcpy(&Holding_Registers_Database[channal_0+30],&MB_Span_offset[channal_0],2);
				 memcpy(&Holding_Registers_Database[channal_1+30],&MB_Span_offset[channal_1],2);
				 memcpy(&Holding_Registers_Database[channal_2+30],&MB_Span_offset[channal_2],2);
				 memcpy(&Holding_Registers_Database[channal_3+30],&MB_Span_offset[channal_3],2);
				 memcpy(&Holding_Registers_Database[channal_4+30],&MB_Span_offset[channal_4],2);
				 memcpy(&Holding_Registers_Database[channal_5+30],&MB_Span_offset[channal_5],2);
				 memcpy(&Holding_Registers_Database[channal_6+30],&MB_Span_offset[channal_6],2);
				 memcpy(&Holding_Registers_Database[channal_7+30],&MB_Span_offset[channal_7],2);
		}
    osDelay(1);
  }
  /* USER CODE END 5 */
}

void MODBUS_HANDLER(void const * argument)
{
  /* USER CODE BEGIN MODBUS_HANDLER */
  /* Infinite loop */

  for(;;)
  {
	  slave_id=GPIO_readA_B();
	  W_flash.SlaveID=slave_id;
	  UpdateUartBaudRate();//configure baudrate for mb

/*********************************************************************************************************************/

		if (uart1_frame_ready){
		            uart1_frame_ready = 0;

		            uint16_t len = uart1_rx_size;
		            uart1len=len;

		            if (len < 6 || len > 64)
		            {
		                uart1_rx_size = 0;
		                continue;
		            }

		            uint16_t crc_calc = crc16(uart1_buf, len - 2);
		            uint16_t crc_rx   = uart1_buf[len-2] | (uart1_buf[len-1] << 8);

		            if (crc_calc != crc_rx) continue;
		            if (uart1_buf[1] != 0x03 && uart1_buf[1] != 0x04 &&uart1_buf[1] != 0x06) continue;

//		            startAddr1 = (uart1_buf[2] << 8) | uart1_buf[3];
//		            numCoils1  = (uart1_buf[4] << 8) | uart1_buf[5];

		    		switch (uart1_buf[1])
		    		{
		    			case 0x04:
		    			memcpy(tempuart1,uart1_buf,sizeof(tempuart1));
		    			startAddr = ((tempuart1[2]<<8)|tempuart1[3]);  // start Register Address
		   			    numRegs = ((tempuart1[4]<<8)|tempuart1[5]);   // number to registers master has requested
		    			if((startAddr+numRegs)<=16){
		    				Read_Input_Regs(UINT32_T,&huart1);
		    			}
		    			else{
		    				if((startAddr>19)&&((startAddr+numRegs)<29))
		    				 Read_Input_Regs(UINT16_T,&huart1);
		    				else
		    				 modbusException(ILLEGAL_DATA_ADDRESS,&huart1);
		    			}

		    			memset(tempuart1,0,sizeof(tempuart1));
		    			break;
		    			case 0x06:

		    			memcpy(tempuart1,uart1_buf,sizeof(tempuart1));
		    			Write_Holding_Regs(&huart1);
		    			memset(tempuart1,0,sizeof(tempuart1));
		    			break;
		    			case 0x03:
			    			memcpy(tempuart1,uart1_buf,sizeof(tempuart1));
			    			Read_Holding_Regs(UINT16_T,&huart1);
			    			memset(tempuart1,0,sizeof(tempuart1));
						break;
		    			default :
		    				modbusException(ILLEGAL_FUNCTION,&huart1);
		    				break;

		    		}

		   }
		   else{

			   UART1_Recover();
		   }

//		    // =====================================================
//		    // ================= UART3 PROCESS ======================
//		    // =====================================================
		    if (uart3_frame_ready){
	            uart3_frame_ready = 0;

	            uint16_t len = uart3_rx_size;
	            uart2len=len;

	            if (len < 6 || len > 64)
	            {
	                uart3_rx_size = 0;
	                continue;
	            }

	            uint16_t crc_calc = crc16(uart3_buf, len - 2);
	            uint16_t crc_rx   = uart3_buf[len-2] | (uart3_buf[len-1] << 8);

	            if (crc_calc != crc_rx) continue;
	            if (uart3_buf[1] != 0x03 && uart3_buf[1] != 0x04 &&uart3_buf[1] != 0x06) continue;

//		            startAddr1 = (uart1_buf[2] << 8) | uart1_buf[3];
//		            numCoils1  = (uart1_buf[4] << 8) | uart1_buf[5];

	    		switch (uart3_buf[1])
	    		{
	    			case 0x04:
	    			memcpy(tempuart2,uart3_buf,sizeof(tempuart2));
	    			startAddr = ((tempuart2[2]<<8)|tempuart2[3]);  // start Register Address
	   			    numRegs = ((tempuart2[4]<<8)|tempuart2[5]);   // number to registers master has requested
	    			if((startAddr+numRegs)<=16){
	    				Read_Input_Regs(UINT32_T,&huart2);
	    			}
	    			else{
	    				if((startAddr>19)&&((startAddr+numRegs)<29))
	    				 Read_Input_Regs(UINT16_T,&huart2);
	    				else
	    				 modbusException(ILLEGAL_DATA_ADDRESS,&huart2);
	    			}

	    			memset(tempuart2,0,sizeof(tempuart2));
	    			break;

	    			case 0x06:

	    			memcpy(tempuart2,uart3_buf,sizeof(tempuart2));
	    			Write_Holding_Regs(&huart2);
	    			memset(tempuart2,0,sizeof(tempuart2));
	    			break;

	    			case 0x03:

		    			memcpy(tempuart2,uart3_buf,sizeof(tempuart2));
		    			startAddr = ((tempuart2[2]<<8)|tempuart2[3]);  // start Register Address
		    			numRegs = ((tempuart2[4]<<8)|tempuart2[5]);   // number to registers master has requested
		    			if((startAddr+numRegs)<=8){
		    				Read_Holding_Regs(UINT16_T,&huart2);
		    			}
						else{
							if((startAddr>19)&&((startAddr+numRegs)<29))
							 Read_Holding_Regs(UINT16_T,&huart2);
							else if((startAddr>29)&&((startAddr+numRegs)<39)){
								Read_Holding_Regs(UINT16_T,&huart2);
							}
							else
							 modbusException(ILLEGAL_DATA_ADDRESS,&huart2);
						}
		    			memset(tempuart2,0,sizeof(tempuart2));
					break;

	    			default :
	    				modbusException(ILLEGAL_FUNCTION,&huart2);
	    				break;

	    		}

	   }
	   else{

		   UART3_Recover();
	   }

//

/**********************************************************************************************************************/

    osDelay(1);
  }
  /* USER CODE END MODBUS_HANDLER */
}

void HAL_TIM_PeriodElapsedCallback(TIM_HandleTypeDef *htim)
{
  if (htim->Instance == TIM1)
  {
    HAL_IncTick();
  }
}

void Error_Handler(void)
{
  __disable_irq();
  while (1)
  {
  }
}
